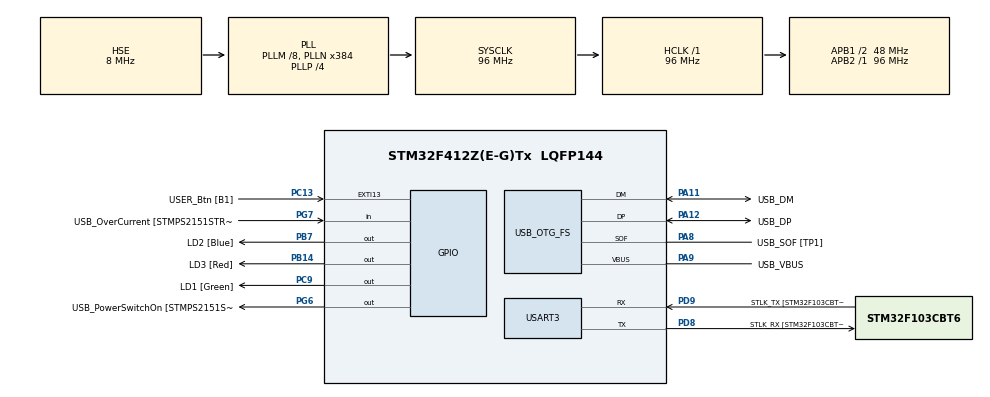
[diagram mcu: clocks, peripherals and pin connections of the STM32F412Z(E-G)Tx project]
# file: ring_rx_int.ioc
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Mcu.Family=STM32F4
Mcu.Name=STM32F412Z(E-G)Tx
Mcu.Package=LQFP144
NVIC.PriorityGroup=NVIC_PRIORITYGROUP_4
NVIC.USART3_IRQn=true\:1\:0\:true\:false\:true\:true
PA10.GPIO_Label=USB_ID
PA10.Signal=USB_OTG_FS_ID
PA11.GPIO_Label=USB_DM
PA11.Mode=Device_Only
PA11.Signal=USB_OTG_FS_DM
PA12.GPIO_Label=USB_DP
PA12.Mode=Device_Only
PA12.Signal=USB_OTG_FS_DP
PA13.GPIO_Label=TMS
PA13.Mode=Serial_Wire
PA13.Signal=SYS_JTMS-SWDIO
PA14.GPIO_Label=TCK
PA14.Mode=Serial_Wire
PA14.Signal=SYS_JTCK-SWCLK
PA8.GPIO_Label=USB_SOF [TP1]
PA8.Mode=Activate_SOF_FS
PA8.Signal=USB_OTG_FS_SOF
PA9.GPIO_Label=USB_VBUS
PA9.Mode=Activate_VBUS
PA9.Signal=USB_OTG_FS_VBUS
PB14.GPIO_Label=LD3 [Red]
PB14.Signal=GPIO_Output
PB3.GPIO_Label=SWO
PB3.Signal=SYS_JTDO-SWO
PB7.GPIO_Label=LD2 [Blue]
PB7.Signal=GPIO_Output
PC13.GPIO_Label=USER_Btn [B1]
PC13.Signal=GPXTI13
PC14-OSC32_IN.Mode=LSE-External-Oscillator
PC14-OSC32_IN.Signal=RCC_OSC32_IN
PC15-OSC32_OUT.Mode=LSE-External-Oscillator
PC15-OSC32_OUT.Signal=RCC_OSC32_OUT
PC9.GPIO_Label=LD1 [Green]
PC9.Signal=GPIO_Output
PD8.GPIO_Label=STLK_RX [STM32F103CBT6_PA3]
PD8.Mode=Asynchronous
PD8.Signal=USART3_TX
PD9.GPIO_Label=STLK_TX [STM32F103CBT6_PA2]
PD9.Mode=Asynchronous
PD9.Signal=USART3_RX
PG6.GPIO_Label=USB_PowerSwitchOn [STMPS2151STR_EN]
PG6.Signal=GPIO_Output
PG7.GPIO_Label=USB_OverCurrent [STMPS2151STR_FAULT]
PG7.Signal=GPIO_Input
PH0\ -\ OSC_IN.GPIO_Label=MCO
PH0\ -\ OSC_IN.Mode=HSE-External-Clock-Source
PH0\ -\ OSC_IN.Signal=RCC_OSC_IN
PH1\ -\ OSC_OUT.Mode=HSE-External-Clock-Source
PH1\ -\ OSC_OUT.Signal=RCC_OSC_OUT
ProjectManager.HeapSize=0x200
ProjectManager.StackSize=0x400
ProjectManager.TargetToolchain=MDK-ARM V5
RCC.48MHZClocksFreq_Value=24000000
RCC.AHBFreq_Value=96000000
RCC.APB1CLKDivider=RCC_HCLK_DIV2
RCC.APB1Freq_Value=48000000
RCC.APB1TimFreq_Value=96000000
RCC.APB2Freq_Value=96000000
RCC.APB2TimFreq_Value=96000000
RCC.CortexFreq_Value=96000000
RCC.HCLKFreq_Value=96000000
RCC.HSE_VALUE=8000000
RCC.HSI_VALUE=16000000
RCC.PLLM=8
RCC.PLLMUL=RCC_PLL_MUL9
RCC.PLLN=384
RCC.PLLP=RCC_PLLP_DIV4
RCC.PLLQ=8
RCC.PRESCALERUSB=RCC_USBCLKSOURCE_PLL_DIV1_5
RCC.SYSCLKFreq_VALUE=96000000
RCC.SYSCLKSource=RCC_SYSCLKSOURCE_PLLCLK
RCC.SYSCLKSourceVirtual=RCC_SYSCLKSOURCE_PLLCLK
RCC.USBFreq_Value=48000000
RCC.VCOOutputFreq_Value=384000000
USART3.VirtualMode=VM_ASYNC
USB_OTG_FS.VirtualMode=Device_Only
board=NUCLEO-F412ZG

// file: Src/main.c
/* USER CODE BEGIN Header */
/**
  ******************************************************************************
  * @file           : main.c
  * @brief          : Main program body
  ******************************************************************************
  ** This notice applies to any and all portions of this file
  * that are not between comment pairs USER CODE BEGIN and
  * USER CODE END. Other portions of this file, whether
  * inserted by the user or by software development tools
  * are owned by their respective copyright owners.
  *
  * COPYRIGHT(c) 2018 STMicroelectronics
  *
  * Redistribution and use in source and binary forms, with or without modification,
  * are permitted provided that the following conditions are met:
  *   1. Redistributions of source code must retain the above copyright notice,
  *      this list of conditions and the following disclaimer.
  *   2. Redistributions in binary form must reproduce the above copyright notice,
  *      this list of conditions and the following disclaimer in the documentation
  *      and/or other materials provided with the distribution.
  *   3. Neither the name of STMicroelectronics nor the names of its contributors
  *      may be used to endorse or promote products derived from this software
  *      without specific prior written permission.
  *
  * THIS SOFTWARE IS PROVIDED BY THE COPYRIGHT HOLDERS AND CONTRIBUTORS "AS IS"
  * AND ANY EXPRESS OR IMPLIED WARRANTIES, INCLUDING, BUT NOT LIMITED TO, THE
  * IMPLIED WARRANTIES OF MERCHANTABILITY AND FITNESS FOR A PARTICULAR PURPOSE ARE
  * DISCLAIMED. IN NO EVENT SHALL THE COPYRIGHT HOLDER OR CONTRIBUTORS BE LIABLE
  * FOR ANY DIRECT, INDIRECT, INCIDENTAL, SPECIAL, EXEMPLARY, OR CONSEQUENTIAL
  * DAMAGES (INCLUDING, BUT NOT LIMITED TO, PROCUREMENT OF SUBSTITUTE GOODS OR
  * SERVICES; LOSS OF USE, DATA, OR PROFITS; OR BUSINESS INTERRUPTION) HOWEVER
  * CAUSED AND ON ANY THEORY OF LIABILITY, WHETHER IN CONTRACT, STRICT LIABILITY,
  * OR TORT (INCLUDING NEGLIGENCE OR OTHERWISE) ARISING IN ANY WAY OUT OF THE USE
  * OF THIS SOFTWARE, EVEN IF ADVISED OF THE POSSIBILITY OF SUCH DAMAGE.
  *
  ******************************************************************************
  */
/* USER CODE END Header */

#include "main.h"

/* USER CODE BEGIN Includes */
#include "ring_buffer.h"

/* USER CODE END Includes */

UART_HandleTypeDef huart3;

PCD_HandleTypeDef hpcd_USB_OTG_FS;

/* USER CODE BEGIN PV */
Queue rx_Int_queue;
/* USER CODE END PV */

void SystemClock_Config(void);
static void MX_GPIO_Init(void);
static void MX_USART3_UART_Init(void);
static void MX_USB_OTG_FS_PCD_Init(void);

/* USER CODE BEGIN 0 */
#ifdef __GNUC__
 #define PUTCHAR_PROTOTYPE int __io_putchar(int ch)
#else
 #define PUTCHAR_PROTOTYPE int fputc(int ch, FILE *f)
#endif

PUTCHAR_PROTOTYPE
{
 HAL_UART_Transmit(&huart3, (uint8_t *)&ch, 1, 1);
 return ch;
}

/* USER CODE END 0 */

int main(void)
{

  /* MCU Configuration--------------------------------------------------------*/

  /* Reset of all peripherals, Initializes the Flash interface and the Systick. */
  HAL_Init();

  /* Configure the system clock */
  SystemClock_Config();

  /* Initialize all configured peripherals */
  MX_GPIO_Init();
  MX_USART3_UART_Init();
  MX_USB_OTG_FS_PCD_Init();
  /* USER CODE BEGIN 2 */

	uint32_t tm_ms_tick;
	uint8_t sw,sw_old;
	uint16_t cnt_rcv,i;

	InitQueue(&rx_Int_queue);
	__HAL_UART_ENABLE_IT(&huart3, UART_IT_RXNE);

	tm_ms_tick = HAL_GetTick();
	sw = sw_old = HAL_GPIO_ReadPin(USER_Btn_GPIO_Port,USER_Btn_Pin);
  /* USER CODE END 2 */

  /* Infinite loop */
  /* USER CODE BEGIN WHILE */
  while (1)
  {
		if ((HAL_GetTick() - tm_ms_tick) > 500)
		{
			tm_ms_tick = HAL_GetTick();
			HAL_GPIO_TogglePin(LD2_GPIO_Port,LD2_Pin);

			sw_old = sw;
			sw = HAL_GPIO_ReadPin(USER_Btn_GPIO_Port,USER_Btn_Pin);

			if (sw != sw_old)
			{
				if (sw)
				{
					printf("User button Pressed\n\r");
					printf("UART3 Queue IsEmpty() = %d\r\n",IsEmpty(&rx_Int_queue));
					cnt_rcv = Len_queue(&rx_Int_queue);
					printf("UART3 recieved data num = %d\r\n",cnt_rcv);
					printf("Recieved data = ");
					for(i=0;i<cnt_rcv;i++)
					{
						printf("%c",Dequeue(&rx_Int_queue));
					}
					printf("\n\r");
				}
			}
		}
    /* USER CODE END WHILE */

  }
}

void SystemClock_Config(void)
{
  RCC_OscInitTypeDef RCC_OscInitStruct = {0};
  RCC_ClkInitTypeDef RCC_ClkInitStruct = {0};
  RCC_PeriphCLKInitTypeDef PeriphClkInitStruct = {0};

  /**Configure the main internal regulator output voltage
  */
  __HAL_RCC_PWR_CLK_ENABLE();
  __HAL_PWR_VOLTAGESCALING_CONFIG(PWR_REGULATOR_VOLTAGE_SCALE1);
  /**Initializes the CPU, AHB and APB busses clocks
  */
  RCC_OscInitStruct.OscillatorType = RCC_OSCILLATORTYPE_HSE;
  RCC_OscInitStruct.HSEState = RCC_HSE_BYPASS;
  RCC_OscInitStruct.PLL.PLLState = RCC_PLL_ON;
  RCC_OscInitStruct.PLL.PLLSource = RCC_PLLSOURCE_HSE;
  RCC_OscInitStruct.PLL.PLLM = 8;
  RCC_OscInitStruct.PLL.PLLN = 384;
  RCC_OscInitStruct.PLL.PLLP = RCC_PLLP_DIV4;
  RCC_OscInitStruct.PLL.PLLQ = 8;
  RCC_OscInitStruct.PLL.PLLR = 2;
  if (HAL_RCC_OscConfig(&RCC_OscInitStruct) != HAL_OK)
  {
    Error_Handler();
  }
  /**Initializes the CPU, AHB and APB busses clocks
  */
  RCC_ClkInitStruct.ClockType = RCC_CLOCKTYPE_HCLK|RCC_CLOCKTYPE_SYSCLK
                              |RCC_CLOCKTYPE_PCLK1|RCC_CLOCKTYPE_PCLK2;
  RCC_ClkInitStruct.SYSCLKSource = RCC_SYSCLKSOURCE_PLLCLK;
  RCC_ClkInitStruct.AHBCLKDivider = RCC_SYSCLK_DIV1;
  RCC_ClkInitStruct.APB1CLKDivider = RCC_HCLK_DIV2;
  RCC_ClkInitStruct.APB2CLKDivider = RCC_HCLK_DIV1;

  if (HAL_RCC_ClockConfig(&RCC_ClkInitStruct, FLASH_LATENCY_3) != HAL_OK)
  {
    Error_Handler();
  }
  PeriphClkInitStruct.PeriphClockSelection = RCC_PERIPHCLK_CLK48;
  PeriphClkInitStruct.Clk48ClockSelection = RCC_CLK48CLKSOURCE_PLLQ;
  if (HAL_RCCEx_PeriphCLKConfig(&PeriphClkInitStruct) != HAL_OK)
  {
    Error_Handler();
  }
}

static void MX_USART3_UART_Init(void)
{

  huart3.Instance = USART3;
  huart3.Init.BaudRate = 115200;
  huart3.Init.WordLength = UART_WORDLENGTH_8B;
  huart3.Init.StopBits = UART_STOPBITS_1;
  huart3.Init.Parity = UART_PARITY_NONE;
  huart3.Init.Mode = UART_MODE_TX_RX;
  huart3.Init.HwFlowCtl = UART_HWCONTROL_NONE;
  huart3.Init.OverSampling = UART_OVERSAMPLING_16;
  if (HAL_UART_Init(&huart3) != HAL_OK)
  {
    Error_Handler();
  }

}

static void MX_USB_OTG_FS_PCD_Init(void)
{

  hpcd_USB_OTG_FS.Instance = USB_OTG_FS;
  hpcd_USB_OTG_FS.Init.dev_endpoints = 6;
  hpcd_USB_OTG_FS.Init.speed = PCD_SPEED_FULL;
  hpcd_USB_OTG_FS.Init.dma_enable = DISABLE;
  hpcd_USB_OTG_FS.Init.ep0_mps = DEP0CTL_MPS_64;
  hpcd_USB_OTG_FS.Init.phy_itface = PCD_PHY_EMBEDDED;
  hpcd_USB_OTG_FS.Init.Sof_enable = ENABLE;
  hpcd_USB_OTG_FS.Init.low_power_enable = DISABLE;
  hpcd_USB_OTG_FS.Init.lpm_enable = DISABLE;
  hpcd_USB_OTG_FS.Init.battery_charging_enable = ENABLE;
  hpcd_USB_OTG_FS.Init.vbus_sensing_enable = ENABLE;
  hpcd_USB_OTG_FS.Init.use_dedicated_ep1 = DISABLE;
  if (HAL_PCD_Init(&hpcd_USB_OTG_FS) != HAL_OK)
  {
    Error_Handler();
  }

}

static void MX_GPIO_Init(void)
{
  GPIO_InitTypeDef GPIO_InitStruct = {0};

  /* GPIO Ports Clock Enable */
  __HAL_RCC_GPIOC_CLK_ENABLE();
  __HAL_RCC_GPIOH_CLK_ENABLE();
  __HAL_RCC_GPIOB_CLK_ENABLE();
  __HAL_RCC_GPIOD_CLK_ENABLE();
  __HAL_RCC_GPIOG_CLK_ENABLE();
  __HAL_RCC_GPIOA_CLK_ENABLE();

  /*Configure GPIO pin Output Level */
  HAL_GPIO_WritePin(GPIOB, LD3_Pin|LD2_Pin, GPIO_PIN_RESET);

  /*Configure GPIO pin Output Level */
  HAL_GPIO_WritePin(USB_PowerSwitchOn_GPIO_Port, USB_PowerSwitchOn_Pin, GPIO_PIN_RESET);

  /*Configure GPIO pin Output Level */
  HAL_GPIO_WritePin(LD1_GPIO_Port, LD1_Pin, GPIO_PIN_RESET);

  /*Configure GPIO pin : USER_Btn_Pin */
  GPIO_InitStruct.Pin = USER_Btn_Pin;
  GPIO_InitStruct.Mode = GPIO_MODE_IT_RISING;
  GPIO_InitStruct.Pull = GPIO_NOPULL;
  HAL_GPIO_Init(USER_Btn_GPIO_Port, &GPIO_InitStruct);

  /*Configure GPIO pins : LD3_Pin LD2_Pin */
  GPIO_InitStruct.Pin = LD3_Pin|LD2_Pin;
  GPIO_InitStruct.Mode = GPIO_MODE_OUTPUT_PP;
  GPIO_InitStruct.Pull = GPIO_NOPULL;
  GPIO_InitStruct.Speed = GPIO_SPEED_FREQ_LOW;
  HAL_GPIO_Init(GPIOB, &GPIO_InitStruct);

  /*Configure GPIO pin : USB_PowerSwitchOn_Pin */
  GPIO_InitStruct.Pin = USB_PowerSwitchOn_Pin;
  GPIO_InitStruct.Mode = GPIO_MODE_OUTPUT_PP;
  GPIO_InitStruct.Pull = GPIO_NOPULL;
  GPIO_InitStruct.Speed = GPIO_SPEED_FREQ_LOW;
  HAL_GPIO_Init(USB_PowerSwitchOn_GPIO_Port, &GPIO_InitStruct);

  /*Configure GPIO pin : USB_OverCurrent_Pin */
  GPIO_InitStruct.Pin = USB_OverCurrent_Pin;
  GPIO_InitStruct.Mode = GPIO_MODE_INPUT;
  GPIO_InitStruct.Pull = GPIO_NOPULL;
  HAL_GPIO_Init(USB_OverCurrent_GPIO_Port, &GPIO_InitStruct);

  /*Configure GPIO pin : LD1_Pin */
  GPIO_InitStruct.Pin = LD1_Pin;
  GPIO_InitStruct.Mode = GPIO_MODE_OUTPUT_PP;
  GPIO_InitStruct.Pull = GPIO_NOPULL;
  GPIO_InitStruct.Speed = GPIO_SPEED_FREQ_LOW;
  HAL_GPIO_Init(LD1_GPIO_Port, &GPIO_InitStruct);

}

void Error_Handler(void)
{
}

/************************ (C) COPYRIGHT STMicroelectronics *****END OF FILE****/
